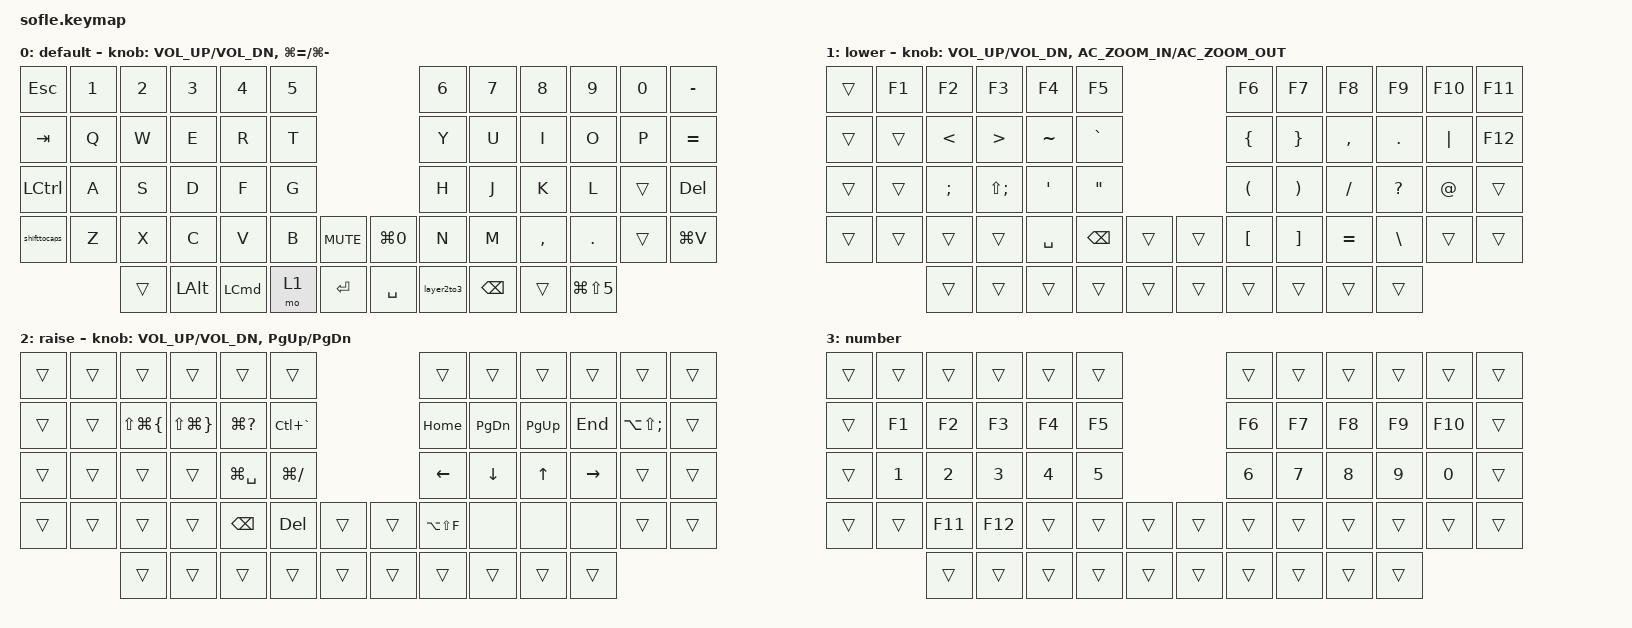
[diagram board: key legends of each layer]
/*
 * Copyright (c) 2020 The ZMK Contributors
 *
 * SPDX-License-Identifier: MIT
 */

#include <behaviors.dtsi>
#include <dt-bindings/zmk/keys.h>

#define BASE 0
#define LOWER 1
#define RAISE 2
#define ADJUST 3

/ {
    // Activate ADJUST layer by pressing raise and lower

    conditional_layers { compatible = "zmk,conditional-layers"; };

    behaviors {
        shifttocaps: shifttocaps {
            compatible = "zmk,behavior-tap-dance";
            label = "SHIFTTOCAPS";
            #binding-cells = <0>;
            bindings = <&kp LEFT_SHIFT>, <&kp CAPSLOCK>;
        };

        layer2to3: layer2to3 {
            compatible = "zmk,behavior-tap-dance";
            label = "LAYER2TO3";
            #binding-cells = <0>;
            bindings = <&mo 2>, <&mo 3>;
        };
    };

    keymap {
        compatible = "zmk,keymap";

        default_layer {
            display-name = "default";

            // ------------------------------------------------------------------------------------------------------------
            // |   `   |  1  |  2  |  3   |  4   |  5   |                   |  6   |  7    |  8    |  9   |   0   |       |
            // |  ESC  |  Q  |  W  |  E   |  R   |  T   |                   |  Y   |  U    |  I    |  O   |   P   | BKSPC |
            // |  TAB  |  A  |  S  |  D   |  F   |  G   |                   |  H   |  J    |  K    |  L   |   ;   |   '   |
            // | SHIFT |  Z  |  X  |  C   |  V   |  B   |  MUTE  |  |       |  N   |  M    |  ,    |  .   |   /   | SHIFT |
            //               | GUI | ALT  | CTRL | LOWER|  ENTER |  | SPACE | RAISE| CTRL  | ALT   | GUI  |

            bindings = <
&kp ESC           &kp N1  &kp N2  &kp N3        &kp N4            &kp N5                                  &kp N6      &kp N7         &kp N8     &kp N9          &kp N0  &kp MINUS
&kp TAB           &kp Q   &kp W   &kp E         &kp R             &kp T                                   &kp Y       &kp U          &kp I      &kp O           &kp P   &kp EQUAL
&kp LEFT_CONTROL  &kp A   &kp S   &kp D         &kp F             &kp G                                   &kp H       &kp J          &kp K      &kp L           &trans  &kp DELETE
&shifttocaps      &kp Z   &kp X   &kp C         &kp V             &kp B   &kp C_MUTE    &kp LG(NUMBER_0)  &kp N       &kp M          &kp COMMA  &kp DOT         &trans  &kp LG(V)
                          &trans  &kp LEFT_ALT  &kp LEFT_COMMAND  &mo 1   &kp ENTER     &kp SPACE         &layer2to3  &kp BACKSPACE  &trans     &kp LG(LS(N5))
            >;

            sensor-bindings =
                <&inc_dec_kp C_VOL_UP C_VOL_DN>,
                <&inc_dec_kp LG(EQUAL) LG(MINUS)>;
        };

        special_layer {
            display-name = "lower";

            // TODO: Some binds are waiting for shifted keycode support.
            // ------------------------------------------------------------------------------------------------------------
            // |       |  F1 |  F2 |  F3  |  F4  |  F5  |                   |  F6  |  F7   |  F8   |  F9  |  F10  |  F11  |
            // |   `   |  1  |  2  |  3   |  4   |  5   |                   |  6   |  7    |  8    |  9   |   0   |  F12  |
            // |       |  !  |  @  |  #   |  $   |  %   |                   |  ^   |  &    |  *    |  (   |   )   |   |   |
            // |       |  =  |  -  |  +   |  {   |  }   |        |  |       |  [   |  ]    |  ;    |  :   |   \   |       |
            //               |     |      |      |      |        |  |       |      |       |       |      |

            bindings = <
&trans  &kp F1  &kp F2         &kp F3            &kp F4            &kp F5                               &kp F6                &kp F7                 &kp F8     &kp F9         &kp F10   &kp F11
&trans  &trans  &kp LESS_THAN  &kp GREATER_THAN  &kp TILDE         &kp GRAVE                            &kp LEFT_BRACE        &kp RIGHT_BRACE        &kp COMMA  &kp DOT        &kp PIPE  &kp F12
&trans  &trans  &kp SEMI       &kp LS(SEMI)      &kp SINGLE_QUOTE  &kp DOUBLE_QUOTES                    &kp LEFT_PARENTHESIS  &kp RIGHT_PARENTHESIS  &kp FSLH   &kp QUESTION   &kp AT    &trans
&trans  &trans  &trans         &trans            &kp SPACE         &kp BACKSPACE      &trans    &trans  &kp LBKT              &kp RBKT               &kp EQUAL  &kp BACKSLASH  &trans    &trans
                &trans         &trans            &trans            &trans             &trans    &trans  &trans                &trans                 &trans     &trans
            >;

            sensor-bindings =
                <&inc_dec_kp C_VOL_UP C_VOL_DN>,
                <&inc_dec_kp C_AC_ZOOM_IN C_AC_ZOOM_OUT>;

            label = "special";
        };

        movement_layer {
            display-name = "raise";

            // ------------------------------------------------------------------------------------------------------------
            // | BTCLR | BT1  | BT2  |  BT3  |  BT4  |  BT5 |                |      |      |       |      |       |       |
            // |       | INS  | PSCR | GUI   |       |      |                | PGUP |      |   ^   |      |       |       |
            // |       | ALT  | CTRL | SHIFT |       | CAPS |                | PGDN |   <- |   v   |  ->  |  DEL  | BKSPC |
            // |       | UNDO | CUT  | COPY  | PASTE |      |      |  |      |      |      |       |      |       |       |
            //                |      |       |       |      |      |  |      |      |      |       |      |

            bindings = <
&trans  &trans  &trans                  &trans                   &trans            &trans                           &trans          &trans          &trans        &trans     &trans            &trans
&trans  &trans  &kp LS(LG(LEFT_BRACE))  &kp LS(LG(RIGHT_BRACE))  &kp LG(QUESTION)  &kp LC(GRAVE)                    &kp HOME        &kp PAGE_DOWN   &kp PAGE_UP   &kp END    &kp LA(LS(SEMI))  &trans
&trans  &trans  &trans                  &trans                   &kp LG(SPACE)     &kp LG(SLASH)                    &kp LEFT_ARROW  &kp DOWN_ARROW  &kp UP_ARROW  &kp RIGHT  &trans            &trans
&trans  &trans  &trans                  &trans                   &kp BSPC          &kp DEL        &trans    &trans  &kp LA(LS(F))   &none           &none         &none      &trans            &trans
                &trans                  &trans                   &trans            &trans         &trans    &trans  &trans          &trans          &trans        &trans
            >;

            sensor-bindings = <&inc_dec_kp C_VOL_UP C_VOL_DN &inc_dec_kp PG_UP PG_DN>;
            label = "movement";
        };

        number_layer {
            bindings = <
&trans  &trans  &trans   &trans   &trans  &trans                    &trans  &trans  &trans  &trans  &trans   &trans
&trans  &kp F1  &kp F2   &kp F3   &kp F4  &kp F5                    &kp F6  &kp F7  &kp F8  &kp F9  &kp F10  &trans
&trans  &kp N1  &kp N2   &kp N3   &kp N4  &kp N5                    &kp N6  &kp N7  &kp N8  &kp N9  &kp N0   &trans
&trans  &trans  &kp F11  &kp F12  &trans  &trans  &trans    &trans  &trans  &trans  &trans  &trans  &trans   &trans
                &trans   &trans   &trans  &trans  &trans    &trans  &trans  &trans  &trans  &trans
            >;

            label = "number";
        };
    };
};
